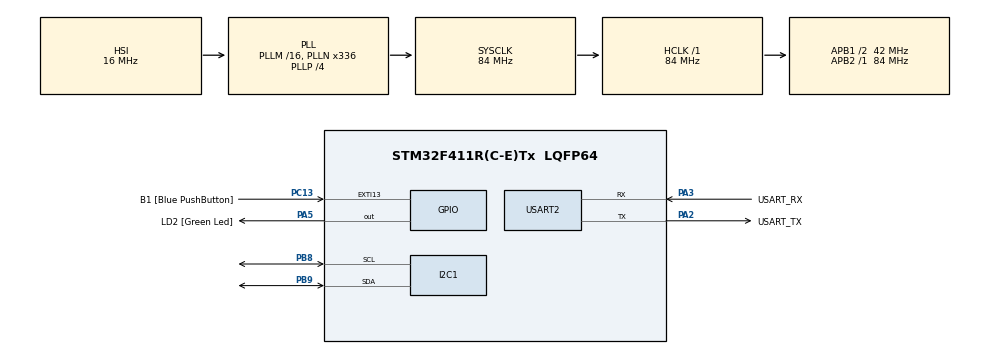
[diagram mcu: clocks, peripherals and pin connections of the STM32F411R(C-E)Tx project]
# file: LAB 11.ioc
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Mcu.Family=STM32F4
PC15-OSC32_OUT.Mode=LSE-External-Oscillator
RCC.CortexFreq_Value=84000000
NVIC.I2C1_EV_IRQn=true\:0\:0\:false\:false\:true\:true\:true
PC13-ANTI_TAMP.GPIO_Label=B1 [Blue PushButton]
PA14.GPIO_Label=TCK
PH1\ -\ OSC_OUT.Mode=HSE-External-Clock-Source
RCC.APB1CLKDivider=RCC_HCLK_DIV2
PC14-OSC32_IN.Signal=RCC_OSC32_IN
RCC.SYSCLKSource=RCC_SYSCLKSOURCE_PLLCLK
ProjectManager.StackSize=0x400
PA13.Signal=SYS_JTMS-SWDIO
PA3.Mode=Asynchronous
PH0\ -\ OSC_IN.Mode=HSE-External-Clock-Source
PH0\ -\ OSC_IN.Signal=RCC_OSC_IN
ProjectManager.TargetToolchain=STM32CubeIDE
I2C1.I2C_Mode=I2C_Fast
RCC.HCLKFreq_Value=84000000
PB9.Mode=I2C
RCC.APB2TimFreq_Value=84000000
PC15-OSC32_OUT.Signal=RCC_OSC32_OUT
RCC.AHBFreq_Value=84000000
PA5.Signal=GPIO_Output
RCC.HSE_VALUE=8000000
PH1\ -\ OSC_OUT.Signal=RCC_OSC_OUT
board=NUCLEO-F411RE
PC13-ANTI_TAMP.Signal=GPXTI13
RCC.VCOOutputFreq_Value=336000000
RCC.APB2Freq_Value=84000000
PC14-OSC32_IN.Mode=LSE-External-Oscillator
PA14.Mode=Serial_Wire
PA13.Mode=Serial_Wire
NVIC.I2C1_ER_IRQn=true\:0\:0\:false\:false\:true\:true\:true
Mcu.Name=STM32F411R(C-E)Tx
PA2.Signal=USART2_TX
PA13.GPIO_Label=TMS
RCC.FLatency-AdvancedSettings=FLASH_LATENCY_2
RCC.48MHZClocksFreq_Value=84000000
PB3.Signal=SYS_JTDO-SWO
RCC.SYSCLKFreq_VALUE=84000000
Mcu.Package=LQFP64
PB9.Signal=I2C1_SDA
PA5.GPIO_Label=LD2 [Green Led]
USART2.VirtualMode=VM_ASYNC
PC13-ANTI_TAMP.GPIO_ModeDefaultEXTI=GPIO_MODE_IT_FALLING
PA2.GPIO_Label=USART_TX
PA14.Signal=SYS_JTCK-SWCLK
ProjectManager.HeapSize=0x200
RCC.HSI_VALUE=16000000
RCC.PLLP=RCC_PLLP_DIV4
NVIC.PriorityGroup=NVIC_PRIORITYGROUP_0
PB8.Mode=I2C
RCC.PLLN=336
RCC.APB1TimFreq_Value=84000000
PA2.Mode=Asynchronous
PB8.Signal=I2C1_SCL
RCC.APB1Freq_Value=42000000
PA3.GPIO_Label=USART_RX
PA3.Signal=USART2_RX
PB3.GPIO_Label=SWO

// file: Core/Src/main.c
/* USER CODE BEGIN Header */
/**
  ******************************************************************************
  * @file           : main.c
  * @brief          : Main program body
  ******************************************************************************
  * @attention
  *
  * <h2><center>&copy; Copyright (c) 2021 STMicroelectronics.
  * All rights reserved.</center></h2>
  *
  * This software component is licensed by ST under BSD 3-Clause license,
  * the "License"; You may not use this file except in compliance with the
  * License. You may obtain a copy of the License at:
  *                        opensource.org/licenses/BSD-3-Clause
  *
  ******************************************************************************
  */
/* USER CODE END Header */
#include "main.h"

/* USER CODE BEGIN PD */
//control byte format
#define EEPROM_ADDR 0b10100000
#define IOEXPD_ADDR 0b01000000
/* USER CODE END PD */

I2C_HandleTypeDef hi2c1;

UART_HandleTypeDef huart2;

/* USER CODE BEGIN PV */
uint8_t eepromExampleWriteFlag = 0;
uint8_t eepromExampleReadFlag = 0;
uint8_t IOExpdrExampleWriteFlag = 0;
uint8_t IOExpdrExampleReadFlag = 0;

uint8_t eepromDataReadBack;
uint8_t IOExpdrDataReadBack;
uint8_t IOExpdrDataWrite;

/* USER CODE END PV */

void SystemClock_Config(void);
static void MX_GPIO_Init(void);
static void MX_USART2_UART_Init(void);
static void MX_I2C1_Init(void);
/* USER CODE BEGIN PFP */
void EEPROMWriteExample();
void EEPROMReadExample(uint8_t *Rdata, uint16_t len);

void IOExpenderInit();
void IOExpenderReadPinA(uint8_t *Rdata);
void IOExpenderWritePinB(uint8_t Wdata);
/* USER CODE END PFP */

int main(void)
{

  /* MCU Configuration--------------------------------------------------------*/

  /* Reset of all peripherals, Initializes the Flash interface and the Systick. */
  HAL_Init();

  /* Configure the system clock */
  SystemClock_Config();

  /* Initialize all configured peripherals */
  MX_GPIO_Init();
  MX_USART2_UART_Init();
  MX_I2C1_Init();
  /* USER CODE BEGIN 2 */
  HAL_Delay(100);
  IOExpenderInit();
  GPIO_PinState SwitchStateBB[2]; 	// 2 states => present,last	//Blue Button

  eepromExampleReadFlag = 1;
  HAL_Delay(10);

  EEPROMReadExample(&eepromDataReadBack, 1);
  HAL_Delay(100);

  IOExpdrExampleWriteFlag = 1;
  IOExpenderWritePinB(eepromDataReadBack);

  /* USER CODE END 2 */

  /* Infinite loop */
  /* USER CODE BEGIN WHILE */
  while (1)
  {

		SwitchStateBB[0] = HAL_GPIO_ReadPin(GPIOC, GPIO_PIN_13);		//BlueButton >> PC13
		if ( SwitchStateBB[1] == GPIO_PIN_SET && SwitchStateBB[0] == GPIO_PIN_RESET)		//Check pressing
		{
			IOExpdrExampleReadFlag = 1;
			IOExpdrExampleWriteFlag = 1;
			IOExpenderReadPinA(&IOExpdrDataReadBack);
			HAL_Delay(10);
			// LED 2 broken >> use LED 5-8 instead >> swap wire
			if (IOExpdrDataReadBack == 0b11110111)			//switch 1 LED 1
			{
				IOExpdrDataWrite = 0b01110000;
			}
			if (IOExpdrDataReadBack == 0b11111011)			//switch 2 LED 2
			{
				IOExpdrDataWrite = 0b10110000;
			}
			if (IOExpdrDataReadBack == 0b11111101)			//switch 3 LED 3
			{
				IOExpdrDataWrite = 0b11010000;
			}
			if (IOExpdrDataReadBack == 0b11111110)			//switch 4 LED 4
			{
				IOExpdrDataWrite = 0b11100000;
			}
			if (IOExpdrDataReadBack == 0b11110011)
			{
				IOExpdrDataWrite = 0b00110000;
			}
			if (IOExpdrDataReadBack == 0b11111001)
			{
				IOExpdrDataWrite = 0b10010000;
			}
			if (IOExpdrDataReadBack == 0b11110001)
			{
				IOExpdrDataWrite = 0b00010000;
			}
			if (IOExpdrDataReadBack == 0b11110101)
			{
				IOExpdrDataWrite = 0b01010000;
			}
			if (IOExpdrDataReadBack == 0b11110110)
			{
				IOExpdrDataWrite = 0b01100000;
			}
			if (IOExpdrDataReadBack == 0b11110000)
			{
				IOExpdrDataWrite = 0b00000000;
			}
			if (IOExpdrDataReadBack == 0b11110010)
			{
				IOExpdrDataWrite = 0b00100000;
			}
			if (IOExpdrDataReadBack == 0b11110100)
			{
				IOExpdrDataWrite = 0b01000000;
			}
			if (IOExpdrDataReadBack == 0b11111000)
			{
				IOExpdrDataWrite = 0b10000000;
			}
			if (IOExpdrDataReadBack == 0b11111010)
			{
				IOExpdrDataWrite = 0b10100000;
			}
			if (IOExpdrDataReadBack == 0b11111100)
			{
				IOExpdrDataWrite = 0b11000000;
			}
			if (IOExpdrDataReadBack == 0b11111111)
			{
				IOExpdrDataWrite = 0b11110000;
			}
			eepromDataReadBack = IOExpdrDataWrite;
			IOExpenderWritePinB(eepromDataReadBack);
			eepromExampleWriteFlag = 1;
			HAL_Delay(10);
			EEPROMWriteExample();
		}

		SwitchStateBB[1] = SwitchStateBB[0];
    /* USER CODE END WHILE */

  }
}

void SystemClock_Config(void)
{
  RCC_OscInitTypeDef RCC_OscInitStruct = {0};
  RCC_ClkInitTypeDef RCC_ClkInitStruct = {0};

  /** Configure the main internal regulator output voltage
  */
  __HAL_RCC_PWR_CLK_ENABLE();
  __HAL_PWR_VOLTAGESCALING_CONFIG(PWR_REGULATOR_VOLTAGE_SCALE1);
  /** Initializes the RCC Oscillators according to the specified parameters
  * in the RCC_OscInitTypeDef structure.
  */
  RCC_OscInitStruct.OscillatorType = RCC_OSCILLATORTYPE_HSI;
  RCC_OscInitStruct.HSIState = RCC_HSI_ON;
  RCC_OscInitStruct.HSICalibrationValue = RCC_HSICALIBRATION_DEFAULT;
  RCC_OscInitStruct.PLL.PLLState = RCC_PLL_ON;
  RCC_OscInitStruct.PLL.PLLSource = RCC_PLLSOURCE_HSI;
  RCC_OscInitStruct.PLL.PLLM = 16;
  RCC_OscInitStruct.PLL.PLLN = 336;
  RCC_OscInitStruct.PLL.PLLP = RCC_PLLP_DIV4;
  RCC_OscInitStruct.PLL.PLLQ = 4;
  if (HAL_RCC_OscConfig(&RCC_OscInitStruct) != HAL_OK)
  {
    Error_Handler();
  }
  /** Initializes the CPU, AHB and APB buses clocks
  */
  RCC_ClkInitStruct.ClockType = RCC_CLOCKTYPE_HCLK|RCC_CLOCKTYPE_SYSCLK
                              |RCC_CLOCKTYPE_PCLK1|RCC_CLOCKTYPE_PCLK2;
  RCC_ClkInitStruct.SYSCLKSource = RCC_SYSCLKSOURCE_PLLCLK;
  RCC_ClkInitStruct.AHBCLKDivider = RCC_SYSCLK_DIV1;
  RCC_ClkInitStruct.APB1CLKDivider = RCC_HCLK_DIV2;
  RCC_ClkInitStruct.APB2CLKDivider = RCC_HCLK_DIV1;

  if (HAL_RCC_ClockConfig(&RCC_ClkInitStruct, FLASH_LATENCY_2) != HAL_OK)
  {
    Error_Handler();
  }
}

static void MX_I2C1_Init(void)
{

  hi2c1.Instance = I2C1;
  hi2c1.Init.ClockSpeed = 400000;
  hi2c1.Init.DutyCycle = I2C_DUTYCYCLE_2;
  hi2c1.Init.OwnAddress1 = 0;
  hi2c1.Init.AddressingMode = I2C_ADDRESSINGMODE_7BIT;
  hi2c1.Init.DualAddressMode = I2C_DUALADDRESS_DISABLE;
  hi2c1.Init.OwnAddress2 = 0;
  hi2c1.Init.GeneralCallMode = I2C_GENERALCALL_DISABLE;
  hi2c1.Init.NoStretchMode = I2C_NOSTRETCH_DISABLE;
  if (HAL_I2C_Init(&hi2c1) != HAL_OK)
  {
    Error_Handler();
  }

}

static void MX_USART2_UART_Init(void)
{

  huart2.Instance = USART2;
  huart2.Init.BaudRate = 115200;
  huart2.Init.WordLength = UART_WORDLENGTH_8B;
  huart2.Init.StopBits = UART_STOPBITS_1;
  huart2.Init.Parity = UART_PARITY_NONE;
  huart2.Init.Mode = UART_MODE_TX_RX;
  huart2.Init.HwFlowCtl = UART_HWCONTROL_NONE;
  huart2.Init.OverSampling = UART_OVERSAMPLING_16;
  if (HAL_UART_Init(&huart2) != HAL_OK)
  {
    Error_Handler();
  }

}

static void MX_GPIO_Init(void)
{
  GPIO_InitTypeDef GPIO_InitStruct = {0};

  /* GPIO Ports Clock Enable */
  __HAL_RCC_GPIOC_CLK_ENABLE();
  __HAL_RCC_GPIOH_CLK_ENABLE();
  __HAL_RCC_GPIOA_CLK_ENABLE();
  __HAL_RCC_GPIOB_CLK_ENABLE();

  /*Configure GPIO pin Output Level */
  HAL_GPIO_WritePin(LD2_GPIO_Port, LD2_Pin, GPIO_PIN_RESET);

  /*Configure GPIO pin : B1_Pin */
  GPIO_InitStruct.Pin = B1_Pin;
  GPIO_InitStruct.Mode = GPIO_MODE_IT_FALLING;
  GPIO_InitStruct.Pull = GPIO_NOPULL;
  HAL_GPIO_Init(B1_GPIO_Port, &GPIO_InitStruct);

  /*Configure GPIO pin : LD2_Pin */
  GPIO_InitStruct.Pin = LD2_Pin;
  GPIO_InitStruct.Mode = GPIO_MODE_OUTPUT_PP;
  GPIO_InitStruct.Pull = GPIO_NOPULL;
  GPIO_InitStruct.Speed = GPIO_SPEED_FREQ_LOW;
  HAL_GPIO_Init(LD2_GPIO_Port, &GPIO_InitStruct);

}

/* USER CODE BEGIN 4 */
void EEPROMWriteExample() {
	if (eepromExampleWriteFlag && hi2c1.State == HAL_I2C_STATE_READY)
	{
		static uint8_t data[1] = {0xff};
		data[0] = IOExpdrDataWrite;
		HAL_I2C_Mem_Write_IT(&hi2c1, EEPROM_ADDR, 0x03, I2C_MEMADD_SIZE_16BIT, data, 1);
		eepromExampleWriteFlag = 0;
	}
}
void EEPROMReadExample(uint8_t *Rdata, uint16_t len) {
	if (eepromExampleReadFlag && hi2c1.State == HAL_I2C_STATE_READY)
	{
		HAL_I2C_Mem_Read_IT(&hi2c1, EEPROM_ADDR, 0x03, I2C_MEMADD_SIZE_16BIT, Rdata, len);
		eepromExampleReadFlag = 0;
	}
}
void IOExpenderInit() {
	//Init All
	static uint8_t Setting[0x16] = { 0xFF, 0x00, 0x00, 0x00, 0x00, 0x00, 0x00,
			0x00, 0x00, 0x00, 0x00, 0x00, 0xFF, 0x00, 0x00, 0x00, 0x00, 0x00,
			0x00, 0x00, 0x00, 0x00 };
	HAL_I2C_Mem_Write(&hi2c1, IOEXPD_ADDR, 0x00, I2C_MEMADD_SIZE_8BIT, Setting, 0x16, 100);
}

void IOExpenderReadPinA(uint8_t *Rdata) {
	if (IOExpdrExampleReadFlag && hi2c1.State == HAL_I2C_STATE_READY)
	{
		HAL_I2C_Mem_Read_IT(&hi2c1, IOEXPD_ADDR, 0x12, I2C_MEMADD_SIZE_8BIT, Rdata, 1);
		IOExpdrExampleReadFlag =0;
	}
}
void IOExpenderWritePinB(uint8_t Wdata) {
	if (IOExpdrExampleWriteFlag && hi2c1.State == HAL_I2C_STATE_READY)
	{
		static uint8_t data;
		data = Wdata;
		HAL_I2C_Mem_Write_IT(&hi2c1, IOEXPD_ADDR, 0x15, I2C_MEMADD_SIZE_8BIT, &data, 1);
		IOExpdrExampleWriteFlag=0;
	}
}

/* USER CODE END 4 */

void Error_Handler(void)
{
  __disable_irq();
  while (1)
  {
  }
}

/************************ (C) COPYRIGHT STMicroelectronics *****END OF FILE****/
